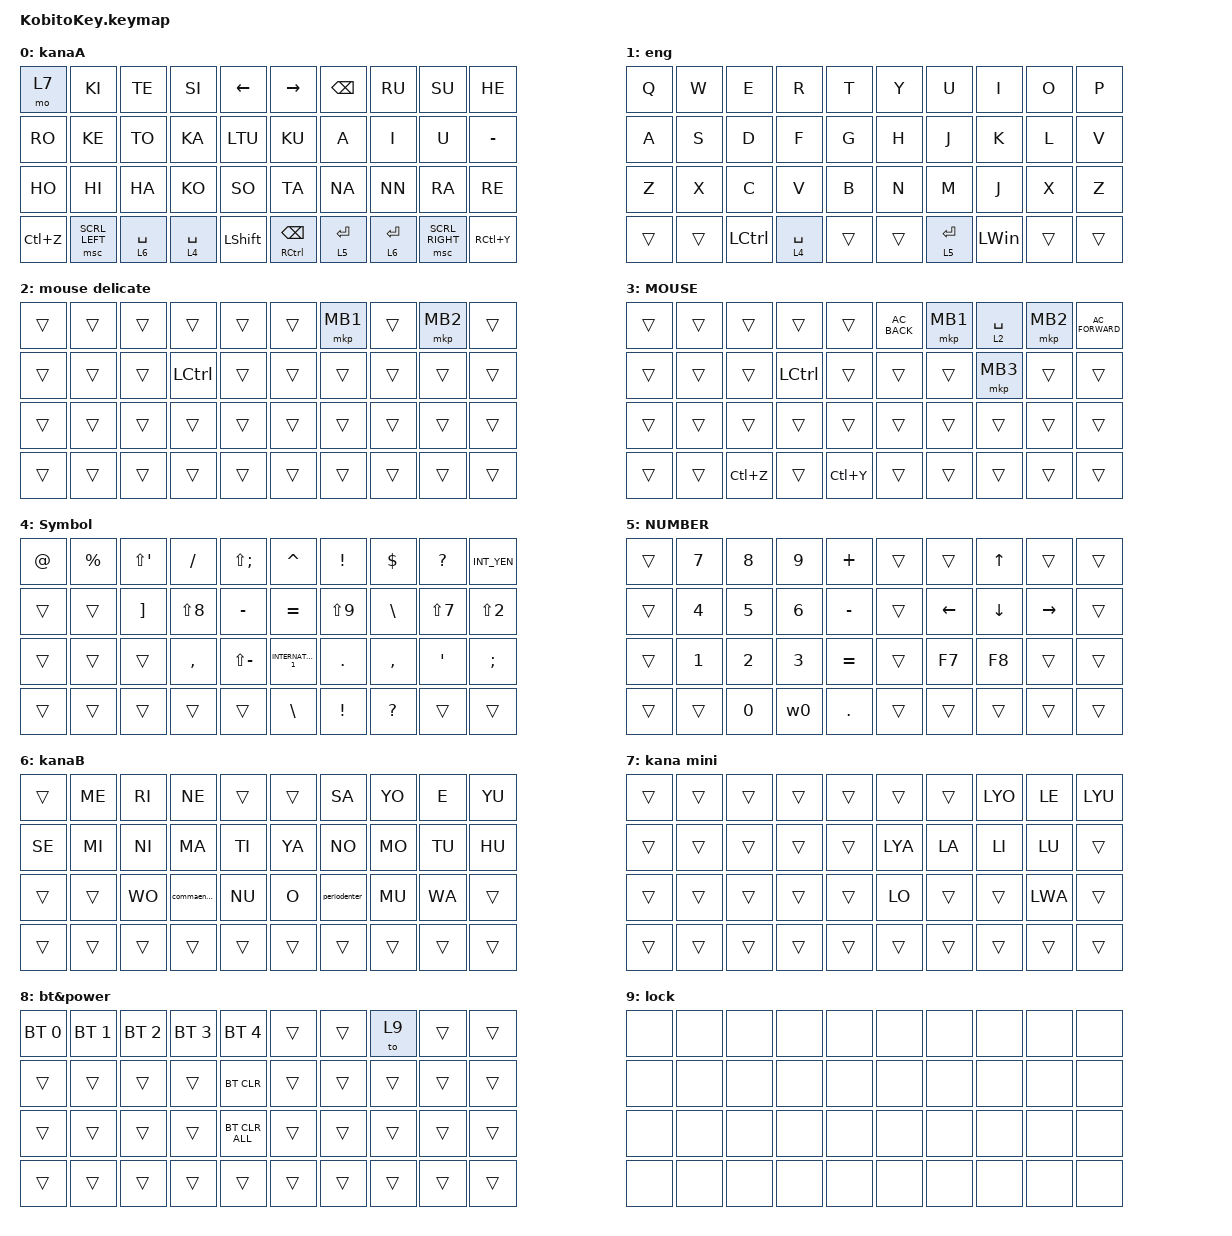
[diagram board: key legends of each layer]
#include <input/processors.dtsi>
#include <behaviors.dtsi>
#include <dt-bindings/zmk/bt.h>
#include <dt-bindings/zmk/keys.h>
#include <dt-bindings/zmk/pointing.h>

/ {
    combos {
        compatible = "zmk,combos";

        combo_eisu {
            timeout-ms = <50>;
            key-positions = <12 13>;
            bindings = <&englayer>;
        };

        combo_kana {
            timeout-ms = <50>;
            key-positions = <16 17>;
            bindings = <&kanalayer>;
        };

        ga {
            bindings = <&GA>;
            key-positions = <13 16>;
            timeout-ms = <70>;
        };

        gi {
            bindings = <&GI>;
            key-positions = <16 1>;
            timeout-ms = <70>;
        };

        gu {
            bindings = <&GU>;
            key-positions = <15 13>;
            timeout-ms = <70>;
        };

        ge {
            bindings = <&GE>;
            key-positions = <11 16>;
            timeout-ms = <70>;
        };

        go {
            bindings = <&GO>;
            key-positions = <16 23>;
            timeout-ms = <70>;
        };

        za {
            bindings = <&ZA>;
            key-positions = <6 13>;
            timeout-ms = <70>;
        };

        zi {
            bindings = <&ZI>;
            key-positions = <3 16>;
            timeout-ms = <70>;
        };

        zu {
            bindings = <&ZU>;
            key-positions = <13 8>;
            timeout-ms = <70>;
        };

        ze {
            bindings = <&ZE>;
            key-positions = <10 16>;
            timeout-ms = <70>;
        };

        zo {
            bindings = <&ZO>;
            key-positions = <16 24>;
            timeout-ms = <70>;
        };

        da {
            bindings = <&DA>;
            key-positions = <13 25>;
            timeout-ms = <70>;
        };

        di {
            bindings = <&DI>;
            key-positions = <14 16>;
            timeout-ms = <70>;
        };

        du {
            bindings = <&DU>;
            key-positions = <13 18>;
            timeout-ms = <70>;
        };

        de {
            bindings = <&DE>;
            key-positions = <2 16>;
            timeout-ms = <70>;
        };

        do {
            bindings = <&DO>;
            key-positions = <12 16>;
            timeout-ms = <70>;
        };

        ba {
            bindings = <&BA_D>;
            key-positions = <16 22>;
            timeout-ms = <70>;
        };

        bi {
            bindings = <&BI_D>;
            key-positions = <16 21>;
            timeout-ms = <70>;
        };

        bu {
            bindings = <&BU_D>;
            key-positions = <13 19>;
            timeout-ms = <70>;
        };

        be {
            bindings = <&BE_D>;
            key-positions = <9 13>;
            timeout-ms = <70>;
        };

        bo {
            bindings = <&BO_D>;
            key-positions = <16 20>;
            timeout-ms = <70>;
        };

        pa {
            bindings = <&PA_P>;
            key-positions = <22 26>;
            timeout-ms = <70>;
        };

        pi {
            bindings = <&PI_P>;
            key-positions = <26 21>;
            timeout-ms = <70>;
        };

        pu {
            bindings = <&PU_P>;
            key-positions = <23 19>;
            timeout-ms = <70>;
        };

        pe {
            bindings = <&PE_P>;
            key-positions = <9 23>;
            timeout-ms = <70>;
        };

        po {
            bindings = <&PO_P>;
            key-positions = <26 20>;
            timeout-ms = <70>;
        };

        kya {
            bindings = <&KYA>;
            key-positions = <1 15>;
            timeout-ms = <70>;
        };

        kyu {
            bindings = <&KYU>;
            key-positions = <1 9>;
            timeout-ms = <70>;
        };

        kyo {
            bindings = <&KYO>;
            key-positions = <1 7>;
            timeout-ms = <70>;
        };

        sha {
            bindings = <&SHA>;
            key-positions = <3 15>;
            timeout-ms = <70>;
        };

        shu {
            bindings = <&SHU>;
            key-positions = <3 9>;
            timeout-ms = <70>;
        };

        sho {
            bindings = <&SHO>;
            key-positions = <7 3>;
            timeout-ms = <70>;
        };

        cha {
            bindings = <&CHA>;
            key-positions = <14 15>;
            timeout-ms = <70>;
        };

        chu {
            bindings = <&CHU>;
            key-positions = <14 9>;
            timeout-ms = <70>;
        };

        cho {
            bindings = <&CHO>;
            key-positions = <7 14>;
            timeout-ms = <70>;
        };

        nya {
            bindings = <&NYA>;
            key-positions = <12 15>;
            timeout-ms = <70>;
        };

        nyu {
            bindings = <&NYU>;
            key-positions = <12 9>;
            timeout-ms = <70>;
        };

        nyo {
            bindings = <&NYO>;
            key-positions = <7 12>;
            timeout-ms = <70>;
        };

        hya {
            bindings = <&HYA>;
            key-positions = <21 15>;
            timeout-ms = <70>;
        };

        hyu {
            bindings = <&HYU>;
            key-positions = <21 9>;
            timeout-ms = <70>;
        };

        hyo {
            bindings = <&HYO>;
            key-positions = <7 21>;
            timeout-ms = <70>;
        };

        mya {
            bindings = <&MYA>;
            key-positions = <15 11>;
            timeout-ms = <70>;
        };

        myu {
            bindings = <&MYU>;
            key-positions = <9 11>;
            timeout-ms = <70>;
        };

        myo {
            bindings = <&MYO>;
            key-positions = <7 11>;
            timeout-ms = <70>;
        };

        rya {
            bindings = <&RYA>;
            key-positions = <2 15>;
            timeout-ms = <70>;
        };

        ryu {
            bindings = <&RYU>;
            key-positions = <9 2>;
            timeout-ms = <70>;
        };

        ryo {
            bindings = <&RYO>;
            key-positions = <7 2>;
            timeout-ms = <70>;
        };

        gya {
            bindings = <&GYA>;
            key-positions = <16 15 1>;
            timeout-ms = <70>;
        };

        gyu {
            bindings = <&GYU>;
            key-positions = <1 9 16>;
            timeout-ms = <70>;
        };

        gyo {
            bindings = <&GYO>;
            key-positions = <1 16 7>;
            timeout-ms = <70>;
        };

        ja {
            bindings = <&JA>;
            key-positions = <16 3 15>;
            timeout-ms = <70>;
        };

        ju {
            bindings = <&JU>;
            key-positions = <16 3 9>;
            timeout-ms = <70>;
        };

        jo {
            bindings = <&JO>;
            key-positions = <16 3 7>;
            timeout-ms = <70>;
        };

        bya {
            bindings = <&BYA>;
            key-positions = <16 21 15>;
            timeout-ms = <70>;
        };

        byu {
            bindings = <&BYU>;
            key-positions = <16 21 9>;
            timeout-ms = <70>;
        };

        byo {
            bindings = <&BYO>;
            key-positions = <16 7 21>;
            timeout-ms = <70>;
        };

        pya {
            bindings = <&PYA>;
            key-positions = <21 26 15>;
            timeout-ms = <70>;
        };

        pyu {
            bindings = <&PYU>;
            key-positions = <21 26 9>;
            timeout-ms = <70>;
        };

        pyo {
            bindings = <&PYO>;
            key-positions = <21 26 7>;
            timeout-ms = <70>;
        };

        vu {
            bindings = <&VU>;
            key-positions = <18 13 19>;
            timeout-ms = <70>;
        };

        va {
            bindings = <&VA>;
            key-positions = <13 18 16>;
            timeout-ms = <70>;
        };

        vi {
            bindings = <&VI>;
            key-positions = <18 13 17>;
            timeout-ms = <70>;
        };

        ve {
            bindings = <&VE>;
            key-positions = <13 8 18>;
            timeout-ms = <70>;
        };

        vo {
            bindings = <&VO>;
            key-positions = <13 18 25>;
            timeout-ms = <70>;
        };

        thi {
            bindings = <&THI>;
            key-positions = <2 17>;
            timeout-ms = <70>;
        };

        twu {
            bindings = <&TWU>;
            key-positions = <2 18>;
            timeout-ms = <70>;
        };

        dhi {
            bindings = <&DHI>;
            key-positions = <16 17 2>;
            timeout-ms = <70>;
        };

        dwu {
            bindings = <&DWU>;
            key-positions = <18 16 2>;
            timeout-ms = <70>;
        };

        fa {
            bindings = <&FA>;
            key-positions = <16 19>;
            timeout-ms = <70>;
        };

        fi {
            bindings = <&FI>;
            key-positions = <17 19>;
            timeout-ms = <70>;
        };

        fe {
            bindings = <&FE>;
            key-positions = <8 19>;
            timeout-ms = <70>;
        };

        fo {
            bindings = <&FO>;
            key-positions = <25 19>;
            timeout-ms = <70>;
        };

        che {
            bindings = <&CHE>;
            key-positions = <14 8>;
            timeout-ms = <70>;
        };

        she {
            bindings = <&SHE_EX>;
            key-positions = <8 3>;
            timeout-ms = <70>;
        };

        je {
            bindings = <&JE>;
            key-positions = <3 16 8>;
            timeout-ms = <70>;
        };

        wi {
            bindings = <&WI>;
            key-positions = <17 18>;
            timeout-ms = <70>;
        };

        we {
            bindings = <&WE>;
            key-positions = <8 18>;
            timeout-ms = <70>;
        };

        who {
            bindings = <&WHO>;
            key-positions = <18 25>;
            timeout-ms = <70>;
        };

        qa {
            bindings = <&QA>;
            key-positions = <15 16>;
            timeout-ms = <70>;
        };

        combo_esc {
            timeout-ms = <50>;
            key-positions = <0 1>;
            bindings = <&kp ESC>;
        };

        combo_tab {
            timeout-ms = <50>;
            key-positions = <10 11>;
            bindings = <&kp TAB>;
        };

        bt {
            bindings = <&mo 8>;
            key-positions = <33 36>;
        };
    };

    macros {
        w0: w0 {
            compatible = "zmk,behavior-macro";
            #binding-cells = <0>;
            bindings = <&kp N0 &kp N0>;
            label = "W0";
        };

        // --- カ行 ---

        KA: KA {
            compatible = "zmk,behavior-macro";
            #binding-cells = <0>;
            wait-ms = <10>;
            tap-ms = <10>;
            bindings = <&kp K &kp A>;
            label = "KA";
        };

        KI: KI {
            compatible = "zmk,behavior-macro";
            #binding-cells = <0>;
            wait-ms = <10>;
            tap-ms = <10>;
            bindings = <&kp K &kp I>;
            label = "KI";
        };

        KU: KU {
            compatible = "zmk,behavior-macro";
            #binding-cells = <0>;
            wait-ms = <10>;
            tap-ms = <10>;
            bindings = <&kp K &kp U>;
            label = "KU";
        };

        KE: KE {
            compatible = "zmk,behavior-macro";
            #binding-cells = <0>;
            wait-ms = <10>;
            tap-ms = <10>;
            bindings = <&kp K &kp E>;
            label = "KE";
        };

        KO: KO {
            compatible = "zmk,behavior-macro";
            #binding-cells = <0>;
            wait-ms = <10>;
            tap-ms = <10>;
            bindings = <&kp K &kp O>;
            label = "KO";
        };

        // --- サ行 ---

        SA: SA {
            compatible = "zmk,behavior-macro";
            #binding-cells = <0>;
            wait-ms = <10>;
            tap-ms = <10>;
            bindings = <&kp S &kp A>;
            label = "SA";
        };

        SI: SI {
            compatible = "zmk,behavior-macro";
            #binding-cells = <0>;
            wait-ms = <10>;
            tap-ms = <10>;
            bindings = <&kp S &kp I>;
            label = "SI";
        };

        SU: SU {
            compatible = "zmk,behavior-macro";
            #binding-cells = <0>;
            wait-ms = <10>;
            tap-ms = <10>;
            bindings = <&kp S &kp U>;
            label = "SU";
        };

        SE: SE {
            compatible = "zmk,behavior-macro";
            #binding-cells = <0>;
            wait-ms = <10>;
            tap-ms = <10>;
            bindings = <&kp S &kp E>;
            label = "SE";
        };

        SO: SO {
            compatible = "zmk,behavior-macro";
            #binding-cells = <0>;
            wait-ms = <10>;
            tap-ms = <10>;
            bindings = <&kp S &kp O>;
            label = "SO";
        };

        // --- タ行 ---

        TA: TA {
            compatible = "zmk,behavior-macro";
            #binding-cells = <0>;
            wait-ms = <10>;
            tap-ms = <10>;
            bindings = <&kp T &kp A>;
            label = "TA";
        };

        TI: TI {
            compatible = "zmk,behavior-macro";
            #binding-cells = <0>;
            wait-ms = <10>;
            tap-ms = <10>;
            bindings = <&kp T &kp I>;
            label = "TI";
        };

        TU: TU {
            compatible = "zmk,behavior-macro";
            #binding-cells = <0>;
            wait-ms = <10>;
            tap-ms = <10>;
            bindings = <&kp T &kp U>;
            label = "TU";
        };

        TE: TE {
            compatible = "zmk,behavior-macro";
            #binding-cells = <0>;
            wait-ms = <10>;
            tap-ms = <10>;
            bindings = <&kp T &kp E>;
            label = "TE";
        };

        TO: TO {
            compatible = "zmk,behavior-macro";
            #binding-cells = <0>;
            wait-ms = <10>;
            tap-ms = <10>;
            bindings = <&kp T &kp O>;
            label = "TO";
        };

        // --- ナ行 ---

        NA: NA {
            compatible = "zmk,behavior-macro";
            #binding-cells = <0>;
            wait-ms = <10>;
            tap-ms = <10>;
            bindings = <&kp N &kp A>;
            label = "NA";
        };

        NI: NI {
            compatible = "zmk,behavior-macro";
            #binding-cells = <0>;
            wait-ms = <10>;
            tap-ms = <10>;
            bindings = <&kp N &kp I>;
            label = "NI";
        };

        NU: NU {
            compatible = "zmk,behavior-macro";
            #binding-cells = <0>;
            wait-ms = <10>;
            tap-ms = <10>;
            bindings = <&kp N &kp U>;
            label = "NU";
        };

        NE: NE {
            compatible = "zmk,behavior-macro";
            #binding-cells = <0>;
            wait-ms = <10>;
            tap-ms = <10>;
            bindings = <&kp N &kp E>;
            label = "NE";
        };

        NO: NO {
            compatible = "zmk,behavior-macro";
            #binding-cells = <0>;
            wait-ms = <10>;
            tap-ms = <10>;
            bindings = <&kp N &kp O>;
            label = "NO";
        };

        // --- ハ行 ---

        HA: HA {
            compatible = "zmk,behavior-macro";
            #binding-cells = <0>;
            wait-ms = <10>;
            tap-ms = <10>;
            bindings = <&kp H &kp A>;
            label = "HA";
        };

        HI: HI {
            compatible = "zmk,behavior-macro";
            #binding-cells = <0>;
            wait-ms = <10>;
            tap-ms = <10>;
            bindings = <&kp H &kp I>;
            label = "HI";
        };

        HU: HU {
            compatible = "zmk,behavior-macro";
            #binding-cells = <0>;
            wait-ms = <10>;
            tap-ms = <10>;
            bindings = <&kp H &kp U>;
            label = "HU";
        };

        HE: HE {
            compatible = "zmk,behavior-macro";
            #binding-cells = <0>;
            wait-ms = <10>;
            tap-ms = <10>;
            bindings = <&kp H &kp E>;
            label = "HE";
        };

        HO: HO {
            compatible = "zmk,behavior-macro";
            #binding-cells = <0>;
            wait-ms = <10>;
            tap-ms = <10>;
            bindings = <&kp H &kp O>;
            label = "HO";
        };

        // --- マ行 ---

        MA: MA {
            compatible = "zmk,behavior-macro";
            #binding-cells = <0>;
            wait-ms = <10>;
            tap-ms = <10>;
            bindings = <&kp M &kp A>;
            label = "MA";
        };

        MI: MI {
            compatible = "zmk,behavior-macro";
            #binding-cells = <0>;
            wait-ms = <10>;
            tap-ms = <10>;
            bindings = <&kp M &kp I>;
            label = "MI";
        };

        MU: MU {
            compatible = "zmk,behavior-macro";
            #binding-cells = <0>;
            wait-ms = <10>;
            tap-ms = <10>;
            bindings = <&kp M &kp U>;
            label = "MU";
        };

        ME: ME {
            compatible = "zmk,behavior-macro";
            #binding-cells = <0>;
            wait-ms = <10>;
            tap-ms = <10>;
            bindings = <&kp M &kp E>;
            label = "ME";
        };

        MO: MO {
            compatible = "zmk,behavior-macro";
            #binding-cells = <0>;
            wait-ms = <10>;
            tap-ms = <10>;
            bindings = <&kp M &kp O>;
            label = "MO";
        };

        // --- ヤ行 ---

        YA: YA {
            compatible = "zmk,behavior-macro";
            #binding-cells = <0>;
            wait-ms = <10>;
            tap-ms = <10>;
            bindings = <&kp Y &kp A>;
            label = "YA";
        };

        YU: YU {
            compatible = "zmk,behavior-macro";
            #binding-cells = <0>;
            wait-ms = <10>;
            tap-ms = <10>;
            bindings = <&kp Y &kp U>;
            label = "YU";
        };

        YO: YO {
            compatible = "zmk,behavior-macro";
            #binding-cells = <0>;
            wait-ms = <10>;
            tap-ms = <10>;
            bindings = <&kp Y &kp O>;
            label = "YO";
        };

        // --- ラ行 ---

        RA: ra {
            compatible = "zmk,behavior-macro";
            #binding-cells = <0>;
            wait-ms = <10>;
            tap-ms = <10>;
            bindings = <&kp R &kp A>;
            label = "RA";
        };

        RI: RI {
            compatible = "zmk,behavior-macro";
            #binding-cells = <0>;
            wait-ms = <10>;
            tap-ms = <10>;
            bindings = <&kp R &kp I>;
            label = "RI";
        };

        RU: RU {
            compatible = "zmk,behavior-macro";
            #binding-cells = <0>;
            wait-ms = <10>;
            tap-ms = <10>;
            bindings = <&kp R &kp U>;
            label = "RU";
        };

        RE: RE {
            compatible = "zmk,behavior-macro";
            #binding-cells = <0>;
            wait-ms = <10>;
            tap-ms = <10>;
            bindings = <&kp R &kp E>;
            label = "RE";
        };

        RO: RO {
            compatible = "zmk,behavior-macro";
            #binding-cells = <0>;
            wait-ms = <10>;
            tap-ms = <10>;
            bindings = <&kp R &kp O>;
            label = "RO";
        };

        // --- ワ行 ・ ン ---

        WA: WA {
            compatible = "zmk,behavior-macro";
            #binding-cells = <0>;
            wait-ms = <10>;
            tap-ms = <10>;
            bindings = <&kp W &kp A>;
            label = "WA";
        };

        WO: WO {
            compatible = "zmk,behavior-macro";
            #binding-cells = <0>;
            wait-ms = <10>;
            tap-ms = <10>;
            bindings = <&kp W &kp O>;
            label = "WO";
        };

        NN: NN {
            compatible = "zmk,behavior-macro";
            #binding-cells = <0>;
            wait-ms = <10>;
            tap-ms = <10>;
            bindings = <&kp N &kp N>;
            label = "NN";
        };

        // --- ガ行 (濁音) ---

        GA: GA {
            compatible = "zmk,behavior-macro";
            #binding-cells = <0>;
            wait-ms = <10>;
            tap-ms = <10>;
            bindings = <&kp G &kp A>;
            label = "GA";
        };

        GI: GI {
            compatible = "zmk,behavior-macro";
            #binding-cells = <0>;
            wait-ms = <10>;
            tap-ms = <10>;
            bindings = <&kp G &kp I>;
            label = "GI";
        };

        GU: GU {
            compatible = "zmk,behavior-macro";
            #binding-cells = <0>;
            wait-ms = <10>;
            tap-ms = <10>;
            bindings = <&kp G &kp U>;
            label = "GU";
        };

        GE: GE {
            compatible = "zmk,behavior-macro";
            #binding-cells = <0>;
            wait-ms = <10>;
            tap-ms = <10>;
            bindings = <&kp G &kp E>;
            label = "GE";
        };

        GO: GO {
            compatible = "zmk,behavior-macro";
            #binding-cells = <0>;
            wait-ms = <10>;
            tap-ms = <10>;
            bindings = <&kp G &kp O>;
            label = "GO";
        };

        // --- ザ行 (濁音) ---

        ZA: ZA {
            compatible = "zmk,behavior-macro";
            #binding-cells = <0>;
            wait-ms = <10>;
            tap-ms = <10>;
            bindings = <&kp Z &kp A>;
            label = "ZA";
        };

        ZI: ZI {
            compatible = "zmk,behavior-macro";
            #binding-cells = <0>;
            wait-ms = <10>;
            tap-ms = <10>;
            bindings = <&kp Z &kp I>;
            label = "ZI";
        };

        ZU: ZU {
            compatible = "zmk,behavior-macro";
            #binding-cells = <0>;
            wait-ms = <10>;
            tap-ms = <10>;
            bindings = <&kp Z &kp U>;
            label = "ZU";
        };

        ZE: ZE {
            compatible = "zmk,behavior-macro";
            #binding-cells = <0>;
            wait-ms = <10>;
            tap-ms = <10>;
            bindings = <&kp Z &kp E>;
            label = "ZE";
        };

        ZO: ZO {
            compatible = "zmk,behavior-macro";
            #binding-cells = <0>;
            wait-ms = <10>;
            tap-ms = <10>;
            bindings = <&kp Z &kp O>;
            label = "ZO";
        };

        // --- ダ行 (濁音) ---

        DA: DA {
            compatible = "zmk,behavior-macro";
            #binding-cells = <0>;
            wait-ms = <10>;
            tap-ms = <10>;
            bindings = <&kp D &kp A>;
            label = "DA";
        };

        DI: DI {
            compatible = "zmk,behavior-macro";
            #binding-cells = <0>;
            wait-ms = <10>;
            tap-ms = <10>;
            bindings = <&kp D &kp I>;
            label = "DI";
        };

        DU: DU {
            compatible = "zmk,behavior-macro";
            #binding-cells = <0>;
            wait-ms = <10>;
            tap-ms = <10>;
            bindings = <&kp D &kp U>;
            label = "DU";
        };

        DE: DE {
            compatible = "zmk,behavior-macro";
            #binding-cells = <0>;
            wait-ms = <10>;
            tap-ms = <10>;
            bindings = <&kp D &kp E>;
            label = "DE";
        };

        DO: DO {
            compatible = "zmk,behavior-macro";
            #binding-cells = <0>;
            wait-ms = <10>;
            tap-ms = <10>;
            bindings = <&kp D &kp O>;
            label = "DO";
        };

        // --- バ行 (濁音) ---

        BA_D: BA_D {
            compatible = "zmk,behavior-macro";
            #binding-cells = <0>;
            wait-ms = <10>;
            tap-ms = <10>;
            bindings = <&kp B &kp A>;
            label = "BA_D";
        };

        BI_D: BI_D {
            compatible = "zmk,behavior-macro";
            #binding-cells = <0>;
            wait-ms = <10>;
            tap-ms = <10>;
            bindings = <&kp B &kp I>;
            label = "BI_D";
        };

        BU_D: BU_D {
            compatible = "zmk,behavior-macro";
            #binding-cells = <0>;
            wait-ms = <10>;
            tap-ms = <10>;
            bindings = <&kp B &kp U>;
            label = "BU_D";
        };

        BE_D: BE_D {
            compatible = "zmk,behavior-macro";
            #binding-cells = <0>;
            wait-ms = <10>;
            tap-ms = <10>;
            bindings = <&kp B &kp E>;
            label = "BE_D";
        };

        BO_D: BO_D {
            compatible = "zmk,behavior-macro";
            #binding-cells = <0>;
            wait-ms = <10>;
            tap-ms = <10>;
            bindings = <&kp B &kp O>;
            label = "BO_D";
        };

        // --- パ行 (半濁音) ---

        PA_P: PA_P {
            compatible = "zmk,behavior-macro";
            #binding-cells = <0>;
            wait-ms = <10>;
            tap-ms = <10>;
            bindings = <&kp P &kp A>;
            label = "PA_P";
        };

        PI_P: PI_P {
            compatible = "zmk,behavior-macro";
            #binding-cells = <0>;
            wait-ms = <10>;
            tap-ms = <10>;
            bindings = <&kp P &kp I>;
            label = "PI_P";
        };

        PU_P: PU_P {
            compatible = "zmk,behavior-macro";
            #binding-cells = <0>;
            wait-ms = <10>;
            tap-ms = <10>;
            bindings = <&kp P &kp U>;
            label = "PU_P";
        };

        PE_P: PE_P {
            compatible = "zmk,behavior-macro";
            #binding-cells = <0>;
            wait-ms = <10>;
            tap-ms = <10>;
            bindings = <&kp P &kp E>;
            label = "PE_P";
        };

        PO_P: PO_P {
            compatible = "zmk,behavior-macro";
            #binding-cells = <0>;
            wait-ms = <10>;
            tap-ms = <10>;
            bindings = <&kp P &kp O>;
            label = "PO_P";
        };

        // --- キャ行 ---

        KYA: KYA {
            compatible = "zmk,behavior-macro";
            #binding-cells = <0>;
            wait-ms = <10>;
            tap-ms = <10>;
            bindings = <&kp K &kp Y &kp A>;
            label = "KYA";
        };

        KYU: KYU {
            compatible = "zmk,behavior-macro";
            #binding-cells = <0>;
            wait-ms = <10>;
            tap-ms = <10>;
            bindings = <&kp K &kp Y &kp U>;
            label = "KYU";
        };

        KYO: KEYO {
            compatible = "zmk,behavior-macro";
            #binding-cells = <0>;
            wait-ms = <10>;
            tap-ms = <10>;
            bindings = <&kp K &kp Y &kp O>;
            label = "KYO";
        };

        // --- シャ行 ---

        SHA: SHA {
            compatible = "zmk,behavior-macro";
            #binding-cells = <0>;
            wait-ms = <10>;
            tap-ms = <10>;
            bindings = <&kp S &kp H &kp A>;
            label = "SHA";
        };

        SHU: SHU {
            compatible = "zmk,behavior-macro";
            #binding-cells = <0>;
            wait-ms = <10>;
            tap-ms = <10>;
            bindings = <&kp S &kp H &kp U>;
            label = "SHU";
        };

        SHO: SHO {
            compatible = "zmk,behavior-macro";
            #binding-cells = <0>;
            wait-ms = <10>;
            tap-ms = <10>;
            bindings = <&kp S &kp H &kp O>;
            label = "SHO";
        };

        // --- チャ行 ---

        CHA: CHA {
            compatible = "zmk,behavior-macro";
            #binding-cells = <0>;
            wait-ms = <10>;
            tap-ms = <10>;
            bindings = <&kp C &kp H &kp A>;
            label = "CHA";
        };

        CHU: CHU {
            compatible = "zmk,behavior-macro";
            #binding-cells = <0>;
            wait-ms = <10>;
            tap-ms = <10>;
            bindings = <&kp C &kp H &kp U>;
            label = "CHU";
        };

        CHO: CHO {
            compatible = "zmk,behavior-macro";
            #binding-cells = <0>;
            wait-ms = <10>;
            tap-ms = <10>;
            bindings = <&kp C &kp H &kp O>;
            label = "CHO";
        };

        // --- ニャ行 ---

        NYA: NYA {
            compatible = "zmk,behavior-macro";
            #binding-cells = <0>;
            wait-ms = <10>;
            tap-ms = <10>;
            bindings = <&kp N &kp Y &kp A>;
            label = "NYA";
        };

        NYU: NYU {
            compatible = "zmk,behavior-macro";
            #binding-cells = <0>;
            wait-ms = <10>;
            tap-ms = <10>;
            bindings = <&kp N &kp Y &kp U>;
            label = "NYU";
        };

        NYO: NYO {
            compatible = "zmk,behavior-macro";
            #binding-cells = <0>;
            wait-ms = <10>;
            tap-ms = <10>;
            bindings = <&kp N &kp Y &kp O>;
            label = "NYO";
        };

        // --- ヒャ行 ---

        HYA: HYA {
            compatible = "zmk,behavior-macro";
            #binding-cells = <0>;
            wait-ms = <10>;
            tap-ms = <10>;
            bindings = <&kp H &kp Y &kp A>;
            label = "HYA";
        };

        HYU: HYU {
            compatible = "zmk,behavior-macro";
            #binding-cells = <0>;
            wait-ms = <10>;
            tap-ms = <10>;
            bindings = <&kp H &kp Y &kp U>;
            label = "HYU";
        };

        HYO: HYO {
            compatible = "zmk,behavior-macro";
            #binding-cells = <0>;
            wait-ms = <10>;
            tap-ms = <10>;
            bindings = <&kp H &kp Y &kp O>;
            label = "HYO";
        };

        // --- ミャ行 ---

        MYA: MYA {
            compatible = "zmk,behavior-macro";
            #binding-cells = <0>;
            wait-ms = <10>;
            tap-ms = <10>;
            bindings = <&kp M &kp Y &kp A>;
            label = "MYA";
        };

        MYU: MYU {
            compatible = "zmk,behavior-macro";
            #binding-cells = <0>;
            wait-ms = <10>;
            tap-ms = <10>;
            bindings = <&kp M &kp Y &kp U>;
            label = "MYU";
        };

        MYO: MYO {
            compatible = "zmk,behavior-macro";
            #binding-cells = <0>;
            wait-ms = <10>;
            tap-ms = <10>;
            bindings = <&kp M &kp Y &kp O>;
            label = "MYO";
        };

        // --- リャ行 ---

        RYA: RYA {
            compatible = "zmk,behavior-macro";
            #binding-cells = <0>;
            wait-ms = <10>;
            tap-ms = <10>;
            bindings = <&kp R &kp Y &kp A>;
            label = "RYA";
        };

        RYU: RYU {
            compatible = "zmk,behavior-macro";
            #binding-cells = <0>;
            wait-ms = <10>;
            tap-ms = <10>;
            bindings = <&kp R &kp Y &kp U>;
            label = "RYU";
        };

        RYO: RYO {
            compatible = "zmk,behavior-macro";
            #binding-cells = <0>;
            wait-ms = <10>;
            tap-ms = <10>;
            bindings = <&kp R &kp Y &kp O>;
            label = "RYO";
        };

        // --- ギャ行 ---

        GYA: GYA {
            compatible = "zmk,behavior-macro";
            #binding-cells = <0>;
            wait-ms = <10>;
            tap-ms = <10>;
            bindings = <&kp G &kp Y &kp A>;
            label = "GYA";
        };

        GYU: GYU {
            compatible = "zmk,behavior-macro";
            #binding-cells = <0>;
            wait-ms = <10>;
            tap-ms = <10>;
            bindings = <&kp G &kp Y &kp U>;
            label = "GYU";
        };

        GYO: GYO {
            compatible = "zmk,behavior-macro";
            #binding-cells = <0>;
            wait-ms = <10>;
            tap-ms = <10>;
            bindings = <&kp G &kp Y &kp O>;
            label = "GYO";
        };

        // --- ジャ行 ---

        JA: JA {
            compatible = "zmk,behavior-macro";
            #binding-cells = <0>;
            wait-ms = <10>;
            tap-ms = <10>;
            bindings = <&kp J &kp A>;
            label = "JA";
        };

        JU: JU {
            compatible = "zmk,behavior-macro";
            #binding-cells = <0>;
            wait-ms = <10>;
            tap-ms = <10>;
            bindings = <&kp J &kp U>;
            label = "JU";
        };

        JO: JO {
            compatible = "zmk,behavior-macro";
            #binding-cells = <0>;
            wait-ms = <10>;
            tap-ms = <10>;
            bindings = <&kp J &kp O>;
            label = "JO";
        };

        // --- ビャ行 ---

        BYA: BYA {
            compatible = "zmk,behavior-macro";
            #binding-cells = <0>;
            wait-ms = <10>;
            tap-ms = <10>;
            bindings = <&kp B &kp Y &kp A>;
            label = "BYA";
        };

        BYU: BYU {
            compatible = "zmk,behavior-macro";
            #binding-cells = <0>;
            wait-ms = <10>;
            tap-ms = <10>;
            bindings = <&kp B &kp Y &kp U>;
            label = "BYU";
        };

        BYO: BYO {
            compatible = "zmk,behavior-macro";
            #binding-cells = <0>;
            wait-ms = <10>;
            tap-ms = <10>;
            bindings = <&kp B &kp Y &kp O>;
            label = "BYO";
        };

        // --- ピャ行 ---

        PYA: PYA {
            compatible = "zmk,behavior-macro";
            #binding-cells = <0>;
            wait-ms = <10>;
            tap-ms = <10>;
            bindings = <&kp P &kp Y &kp A>;
            label = "PYA";
        };

        PYU: PYU {
            compatible = "zmk,behavior-macro";
            #binding-cells = <0>;
            wait-ms = <10>;
            tap-ms = <10>;
            bindings = <&kp P &kp Y &kp U>;
            label = "PYU";
        };

        PYO: PYO {
            compatible = "zmk,behavior-macro";
            #binding-cells = <0>;
            wait-ms = <10>;
            tap-ms = <10>;
            bindings = <&kp P &kp Y &kp O>;
            label = "PYO";
        };

        // --- ヴ・ヴァ行 ---

        VU: VU {
            compatible = "zmk,behavior-macro";
            #binding-cells = <0>;
            wait-ms = <10>;
            tap-ms = <10>;
            bindings = <&kp V &kp U>;
            label = "VU";
        };

        VA: VA {
            compatible = "zmk,behavior-macro";
            #binding-cells = <0>;
            wait-ms = <10>;
            tap-ms = <10>;
            bindings = <&kp V &kp A>;
            label = "VA";
        };

        VI: VI {
            compatible = "zmk,behavior-macro";
            #binding-cells = <0>;
            wait-ms = <10>;
            tap-ms = <10>;
            bindings = <&kp V &kp I>;
            label = "VI";
        };

        VE: VE {
            compatible = "zmk,behavior-macro";
            #binding-cells = <0>;
            wait-ms = <10>;
            tap-ms = <10>;
            bindings = <&kp V &kp E>;
            label = "VE";
        };

        VO: VO {
            compatible = "zmk,behavior-macro";
            #binding-cells = <0>;
            wait-ms = <10>;
            tap-ms = <10>;
            bindings = <&kp V &kp O>;
            label = "VO";
        };

        // --- ティ・トゥ ---

        THI: THI {
            compatible = "zmk,behavior-macro";
            #binding-cells = <0>;
            wait-ms = <10>;
            tap-ms = <10>;
            bindings = <&kp T &kp H &kp I>;
            label = "THI";
        };

        TWU: TWU {
            compatible = "zmk,behavior-macro";
            #binding-cells = <0>;
            wait-ms = <10>;
            tap-ms = <10>;
            bindings = <&kp T &kp W &kp U>;
            label = "TWU";
        };

        // --- ディ・ドゥ ---

        DHI: DHI {
            compatible = "zmk,behavior-macro";
            #binding-cells = <0>;
            wait-ms = <10>;
            tap-ms = <10>;
            bindings = <&kp D &kp H &kp I>;
            label = "DHI";
        };

        DWU: DWU {
            compatible = "zmk,behavior-macro";
            #binding-cells = <0>;
            wait-ms = <10>;
            tap-ms = <10>;
            bindings = <&kp D &kp W &kp U>;
            label = "DWU";
        };

        // --- ファ・フィ・フェ・フォ ---

        FA: FA {
            compatible = "zmk,behavior-macro";
            #binding-cells = <0>;
            wait-ms = <10>;
            tap-ms = <10>;
            bindings = <&kp F &kp A>;
            label = "FA";
        };

        FI: FI {
            compatible = "zmk,behavior-macro";
            #binding-cells = <0>;
            wait-ms = <10>;
            tap-ms = <10>;
            bindings = <&kp F &kp I>;
            label = "FI";
        };

        FE: FE {
            compatible = "zmk,behavior-macro";
            #binding-cells = <0>;
            wait-ms = <10>;
            tap-ms = <10>;
            bindings = <&kp F &kp E>;
            label = "FE";
        };

        FO: FO {
            compatible = "zmk,behavior-macro";
            #binding-cells = <0>;
            wait-ms = <10>;
            tap-ms = <10>;
            bindings = <&kp F &kp O>;
            label = "FO";
        };

        // --- チェ・シェ・ジェ ---

        CHE: CHE {
            compatible = "zmk,behavior-macro";
            #binding-cells = <0>;
            wait-ms = <10>;
            tap-ms = <10>;
            bindings = <&kp C &kp H &kp E>;
            label = "CHE";
        };

        SHE_EX: SHE_EX {
            compatible = "zmk,behavior-macro";
            #binding-cells = <0>;
            wait-ms = <10>;
            tap-ms = <10>;
            bindings = <&kp S &kp H &kp E>;
            label = "SHE_EX";
        };

        JE: JE {
            compatible = "zmk,behavior-macro";
            #binding-cells = <0>;
            wait-ms = <10>;
            tap-ms = <10>;
            bindings = <&kp J &kp E>;
            label = "JE";
        };

        // --- ウィ・ウェ・ウォ ---

        WI: WI {
            compatible = "zmk,behavior-macro";
            #binding-cells = <0>;
            wait-ms = <10>;
            tap-ms = <10>;
            bindings = <&kp W &kp I>;
            label = "WI";
        };

        WE: WE {
            compatible = "zmk,behavior-macro";
            #binding-cells = <0>;
            wait-ms = <10>;
            tap-ms = <10>;
            bindings = <&kp W &kp E>;
            label = "WE";
        };

        WHO: WHO {
            compatible = "zmk,behavior-macro";
            #binding-cells = <0>;
            wait-ms = <10>;
            tap-ms = <10>;
            bindings = <&kp W &kp H &kp O>;
            label = "WHO";
        };

        // --- クァ・ツァ ---

        QA: QA {
            compatible = "zmk,behavior-macro";
            #binding-cells = <0>;
            wait-ms = <10>;
            tap-ms = <10>;
            bindings = <&kp Q &kp A>;
            label = "QA";
        };

        TSA: TSA {
            compatible = "zmk,behavior-macro";
            #binding-cells = <0>;
            wait-ms = <10>;
            tap-ms = <10>;
            bindings = <&kp T &kp S &kp A>;
            label = "TSA";
        };

        // --- 小さいア行 (ぁぃぅぇぉ) ---

        LA: la {
            compatible = "zmk,behavior-macro";
            #binding-cells = <0>;
            wait-ms = <10>;
            tap-ms = <10>;
            bindings = <&kp L &kp A>;
            label = "LA";
        };

        LI: LI {
            compatible = "zmk,behavior-macro";
            #binding-cells = <0>;
            wait-ms = <10>;
            tap-ms = <10>;
            bindings = <&kp L &kp I>;
            label = "LI";
        };

        LU: LU {
            compatible = "zmk,behavior-macro";
            #binding-cells = <0>;
            wait-ms = <10>;
            tap-ms = <10>;
            bindings = <&kp L &kp U>;
            label = "LU";
        };

        LE: LE {
            compatible = "zmk,behavior-macro";
            #binding-cells = <0>;
            wait-ms = <10>;
            tap-ms = <10>;
            bindings = <&kp L &kp E>;
            label = "LE";
        };

        LO: LO {
            compatible = "zmk,behavior-macro";
            #binding-cells = <0>;
            wait-ms = <10>;
            tap-ms = <10>;
            bindings = <&kp L &kp O>;
            label = "LO";
        };

        // --- 小さいヤ行 (ゃゅょ) ---

        LYA: LYA {
            compatible = "zmk,behavior-macro";
            #binding-cells = <0>;
            wait-ms = <10>;
            tap-ms = <10>;
            bindings = <&kp L &kp Y &kp A>;
            label = "LYA";
        };

        LYU: LYU {
            compatible = "zmk,behavior-macro";
            #binding-cells = <0>;
            wait-ms = <10>;
            tap-ms = <10>;
            bindings = <&kp L &kp Y &kp U>;
            label = "LYU";
        };

        LYO: LYO {
            compatible = "zmk,behavior-macro";
            #binding-cells = <0>;
            wait-ms = <10>;
            tap-ms = <10>;
            bindings = <&kp L &kp Y &kp O>;
            label = "LYO";
        };

        // --- 小さい「っ」(促音) ・「ゎ」 ---

        LTU: LTU {
            compatible = "zmk,behavior-macro";
            #binding-cells = <0>;
            wait-ms = <10>;
            tap-ms = <10>;
            bindings = <&kp L &kp T &kp U>;
            label = "LTU";
        };

        LWA: LWA {
            compatible = "zmk,behavior-macro";
            #binding-cells = <0>;
            wait-ms = <10>;
            tap-ms = <10>;
            bindings = <&kp L &kp W &kp A>;
            label = "LWA";
        };

        // --- 小さい「ヶ」「ヵ」 ---

        LKE: LKE {
            compatible = "zmk,behavior-macro";
            #binding-cells = <0>;
            wait-ms = <10>;
            tap-ms = <10>;
            bindings = <&kp L &kp K &kp E>;
            label = "LKE";
        };

        LKA: LKA {
            compatible = "zmk,behavior-macro";
            #binding-cells = <0>;
            wait-ms = <10>;
            tap-ms = <10>;
            bindings = <&kp L &kp K &kp A>;
            label = "LKA";
        };

        kanalayer: kana {
            compatible = "zmk,behavior-macro";
            #binding-cells = <0>;
            bindings = <&kp LANGUAGE_1 &to 0>;
            label = "KANA";
        };

        englayer: englayer {
            compatible = "zmk,behavior-macro";
            #binding-cells = <0>;
            bindings = <&kp LANGUAGE_2 &to 1>;
            label = "ENGLAYER";
        };

        commaenter: commaenter {
            compatible = "zmk,behavior-macro";
            #binding-cells = <0>;
            bindings = <&kp COMMA &kp ENTER>;
            label = "COMMAENTER";
        };

        periodenter: period {
            compatible = "zmk,behavior-macro";
            #binding-cells = <0>;
            bindings = <&kp DOT &kp ENTER>;
            label = "PERIOD";
        };
    };

    behaviors {
        softoff: softoff {
            compatible = "zmk,behavior-soft-off";
            label = "SOFTOFF";
            #binding-cells = <0>;
            hold-time-ms = <2000>;
        };
    };

    keymap {
        compatible = "zmk,keymap";

        default_layer {
            bindings = <
&mo 7      &KI             &TE          &SI          &kp LEFT_ARROW  &kp RIGHT            &kp BACKSPACE  &RU          &SU              &HE
&RO        &KE             &TO          &KA          &LTU            &KU                  &kp A          &kp I        &kp U            &kp MINUS
&HO        &HI             &HA          &KO          &SO             &TA                  &NA            &NN          &RA              &RE
&kp LC(Z)  &msc SCRL_LEFT  &lt 6 SPACE  &lt 4 SPACE  &kp LEFT_SHIFT  &mt RCTRL BACKSPACE  &lt 5 ENTER    &lt 6 ENTER  &msc SCRL_RIGHT  &kp RC(Y)
            >;

            label = "kanaA";
        };

        layer1 {
            bindings = <
&kp Q   &kp W   &kp E      &kp R        &kp T   &kp Y   &kp U        &kp I         &kp O   &kp P
&kp A   &kp S   &kp D      &kp F        &kp G   &kp H   &kp J        &kp K         &kp L   &kp V
&kp Z   &kp X   &kp C      &kp V        &kp B   &kp N   &kp M        &kp J         &kp X   &kp Z
&trans  &trans  &kp LCTRL  &lt 4 SPACE  &trans  &trans  &lt 5 ENTER  &kp LEFT_WIN  &trans  &trans
            >;

            label = "eng";
        };

        layer2 {
            bindings = <
&trans  &trans  &trans  &trans     &trans  &trans  &mkp MB1  &trans  &mkp MB2  &trans
&trans  &trans  &trans  &kp LCTRL  &trans  &trans  &trans    &trans  &trans    &trans
&trans  &trans  &trans  &trans     &trans  &trans  &trans    &trans  &trans    &trans
&trans  &trans  &trans  &trans     &trans  &trans  &trans    &trans  &trans    &trans
            >;

            label = "mouse delicate";
        };

        layer3 {
            label = "MOUSE";
            bindings = <
&trans  &trans  &trans     &trans     &trans     &kp C_AC_BACK  &mkp MB1  &lt 2 SPACE  &mkp MB2  &kp C_AC_FORWARD
&trans  &trans  &trans     &kp LCTRL  &trans     &trans         &trans    &mkp MB3     &trans    &trans
&trans  &trans  &trans     &trans     &trans     &trans         &trans    &trans       &trans    &trans
&trans  &trans  &kp LC(Z)  &trans     &kp LC(Y)  &trans         &trans    &trans       &trans    &trans
            >;
        };

        layer5 {
            label = "Symbol";
            bindings = <
&kp AT_SIGN  &kp PERCENT  &kp LS(SQT)        &kp SLASH   &kp LS(SEMICOLON)  &kp CARET            &kp EXCLAMATION  &kp DOLLAR    &kp QUESTION  &kp INT_YEN
&trans       &trans       &kp RIGHT_BRACKET  &kp LS(N8)  &kp MINUS          &kp EQUAL            &kp LS(N9)       &kp BSLH      &kp LS(N7)    &kp LS(NUMBER_2)
&trans       &trans       &trans             &kp COMMA   &kp LS(MINUS)      &kp INTERNATIONAL_1  &kp PERIOD       &kp COMMA     &kp APOS      &kp SEMI
&trans       &trans       &trans             &trans      &trans             &kp BSLH             &kp EXCLAMATION  &kp QUESTION  &trans        &trans
            >;
        };

        layer4 {
            label = "NUMBER";
            bindings = <
&trans  &kp NUMBER_7  &kp NUMBER_8  &kp NUMBER_9  &kp PLUS    &trans  &trans    &kp UP    &trans     &trans
&trans  &kp N4        &kp N5        &kp N6        &kp MINUS   &trans  &kp LEFT  &kp DOWN  &kp RIGHT  &trans
&trans  &kp NUMBER_1  &kp NUMBER_2  &kp NUMBER_3  &kp EQUAL   &trans  &kp F7    &kp F8    &trans     &trans
&trans  &trans        &kp N0        &w0           &kp PERIOD  &trans  &trans    &trans    &trans     &trans
            >;
        };

        layer6 {
            bindings = <
&trans  &ME     &RI     &NE          &trans  &trans  &SA           &YO     &kp E   &YU
&SE     &MI     &NI     &MA          &TI     &YA     &NO           &MO     &TU     &HU
&trans  &trans  &WO     &commaenter  &NU     &kp O   &periodenter  &MU     &WA     &trans
&trans  &trans  &trans  &trans       &trans  &trans  &trans        &trans  &trans  &trans
            >;

            label = "kanaB";
        };

        layer7 {
            bindings = <
&trans  &trans  &trans  &trans  &trans  &trans  &trans  &LYO    &LE     &LYU
&trans  &trans  &trans  &trans  &trans  &LYA    &LA     &LI     &LU     &trans
&trans  &trans  &trans  &trans  &trans  &LO     &trans  &trans  &LWA    &trans
&trans  &trans  &trans  &trans  &trans  &trans  &trans  &trans  &trans  &trans
            >;

            label = "kana mini";
        };

        layer8 {
            bindings = <
&bt BT_SEL 0  &bt BT_SEL 1  &bt BT_SEL 2  &bt BT_SEL 3  &bt BT_SEL 4    &trans  &trans  &to 9   &trans  &trans
&trans        &trans        &trans        &trans        &bt BT_CLR      &trans  &trans  &trans  &trans  &trans
&trans        &trans        &trans        &trans        &bt BT_CLR_ALL  &trans  &trans  &trans  &trans  &trans
&trans        &trans        &trans        &trans        &trans          &trans  &trans  &trans  &trans  &trans
            >;

            label = "bt&power";
        };

        layer9 {
            bindings = <
&none  &none  &none  &none  &none  &none  &none  &none  &none  &none
&none  &none  &none  &none  &none  &none  &none  &none  &none  &none
&none  &none  &none  &none  &none  &none  &none  &none  &none  &none
&none  &none  &none  &none  &none  &none  &none  &none  &none  &none
            >;

            label = "lock";
        };
    };

    conditional_layers { compatible = "zmk,conditional-layers"; };
};
